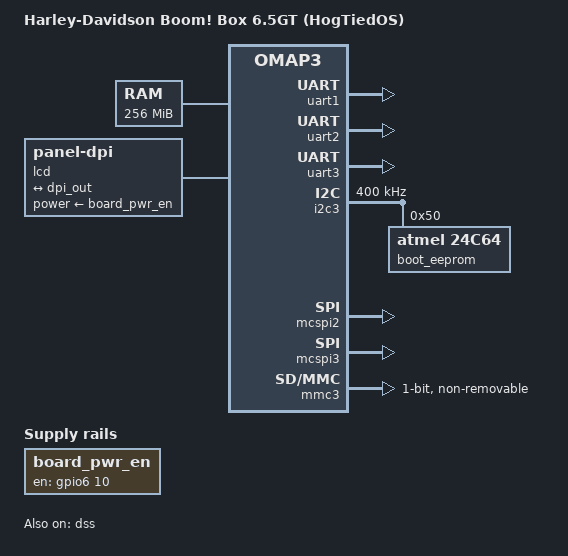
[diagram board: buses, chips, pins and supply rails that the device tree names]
// SPDX-License-Identifier: GPL-2.0-only
/*
 * HogTiedOS - Harley-Davidson Boom! Box 6.5GT head unit
 * SoC: TI DRA523/DRA526 ("Jacinto 3"), OMAP3-family, no public TRM.
 *
 * Provenance tags used below (see docs/findings/):
 *   [confirmed]  read from stock firmware AND matches mainline OMAP3 addresses
 *   [mainline]   not in our findings; value inherited from the mainline dtsi
 *   [inferred]   derived from findings, not stated directly by them
 *   TODO: unconfirmed  a real gap - do not "fix" by guessing
 *
 * Pin muxing: NO pad configuration data is available (the IPL pad table was
 * not extracted), so this file deliberately declares no pinctrl states and
 * relies on the pads the stock IPL left behind.
 * TODO: unconfirmed - extract IPL pad table before adding any pinctrl.
 */
/dts-v1/;

/*
 * TODO: unconfirmed - SoC base. am3517.dtsi is chosen because the IPL's
 * memory-controller sequence matches AM35xx EMIF4 (CROSS_CHECKS.md sec. 1/3).
 * Kernel prints the CONTROL_IDCODE hawkeye at boot; AM35xx = 0xb868.
 * If it's something else, switch to omap34xx.dtsi / omap36xx.dtsi.
 */
#include "ti/omap/am3517.dtsi"
#include <dt-bindings/gpio/gpio.h>

/ {
	model = "Harley-Davidson Boom! Box 6.5GT (HogTiedOS)";
	/* "hogtied,boombox-6.5gt" gates the DRAM-controller kernel patch */
	compatible = "hogtied,boombox-6.5gt", "ti,am3517", "ti,omap3";

	chosen {
		/* [confirmed] UART3 0x49020000 IRQ 74, 115200 8N1 debug console */
		stdout-path = "serial2:115200n8";
		bootargs = "console=ttyS2,115200n8 earlycon";
	};

	/*
	 * DRAM. [confirmed] base 0x80000000 (the IPL copies itself there).
	 * [confirmed] size: stock QNX startup (0x80100A18) reads EMIF4
	 * SDRAM_CONFIG 0x6D000008 ROWSIZE[9:7] and registers 512 MiB if it is
	 * 5, else 256 MiB. The IPL writes 5 when CONTROL_STATUS[14:13] == 0, else
	 * 4 (CROSS_CHECKS.md sec. 9). Keep 256 MiB here: the boot shim reads
	 * (never writes) ROWSIZE and patches this size cell to 0x20000000 on
	 * 512 MiB units (tools/ifs-pack, tested on the stock IPL).
	 */
	memory@80000000 {
		device_type = "memory";
		reg = <0x80000000 0x10000000>;
	};

	/*
	 * [confirmed] GPIO170 (gpio6 bit 10) is a shared board power enable:
	 * devg-omap35xx drives it HIGH to bring the panel up, and the audio
	 * power-amp code releases it (SETDATAOUT) before amp init. Modeled as
	 * one regulator so display and audio share it instead of both claiming
	 * the pin.
	 * TODO: unconfirmed - README says it is asserted only after an
	 * ignition-on CAN message; whether Linux may raise it unconditionally
	 * at boot is not established. Rail voltage unknown (none declared).
	 * TODO: unconfirmed - CONFLICT: the board/clock/pin handoff calls it
	 * the DSP's active-low reset (IPL pad 0x480021C6 = 0x0004, output,
	 * mode 4). Both readings agree that HIGH = running, but if it's a DSP
	 * reset, display code shouldn't own it. Resolve before any audio work.
	 */
	board_pwr_en: regulator-board-pwr-en {
		compatible = "regulator-fixed";
		regulator-name = "board_pwr_en";
		gpio = <&gpio6 10 GPIO_ACTIVE_HIGH>;	/* GPIO170 */
		enable-active-high;
	};

	/*
	 * [confirmed] 400x240 RGB565 panel. The stock image is the PREMIUM
	 * build: boot IFS display.conf -> premium/omap3530.conf, whose only
	 * active line is
	 *   hsw=28 hfp=40 hbp=60 vsw=3 vfp=13 vbp=29 ivs=1 ihs=1 ipc=1 ieo=0x4
	 *   pcd=0x8 ppl=400 lpp=240 lcdfmt=0x1 dither=2
	 * (The 400x234 entry cited in display_graphics_map.json is from
	 * standard/omap3530.conf, which this image doesn't use.)
	 * Totals 528 x 285.
	 *
	 * TODO: unconfirmed - pixel clock. display.conf declares refresh=60,
	 * giving 60 * 528 * 285 = 9.029 MHz (used below). pcd=8 disagrees
	 * unless the DSS functional clock is ~72 MHz: at 96 MHz it would give
	 * 12 MHz / ~80 Hz. The DSS clock source hasn't been traced.
	 * TODO: unconfirmed - whether hsw/hfp/... are real counts or DISPC
	 * register encodings (value-1); taken as real counts.
	 * TODO: unconfirmed - ieo=0x4 (data-enable polarity), dither=2.
	 */
	lcd0: display {
		compatible = "panel-dpi";
		label = "lcd";
		power-supply = <&board_pwr_en>;

		panel-timing {
			clock-frequency = <9028800>;
			hactive = <400>;
			vactive = <240>;
			hfront-porch = <40>;
			hback-porch = <60>;
			hsync-len = <28>;
			vfront-porch = <13>;
			vback-porch = <29>;
			vsync-len = <3>;
			hsync-active = <0>;	/* ihs=1: active low */
			vsync-active = <0>;	/* ivs=1: active low */
			pixelclk-active = <0>;	/* ipc=1: sampled on rising edge */
		};

		port {
			lcd_in: endpoint {
				remote-endpoint = <&dpi_out>;
			};
		};
	};

	/*
	 * Backlight: [confirmed-ish, medium-high] no OMAP PWM is used; brightness
	 * is a devctl message to the front controller over IPC ch3. No DT node.
	 * TODO: unconfirmed - exact message bytes.
	 */
};

/* [confirmed] DSS 0x48050000, DISPC IRQ 25, DPI output, 16 data lines */
&dss {
	status = "okay";

	port {
		dpi_out: endpoint {
			remote-endpoint = <&lcd_in>;
			data-lines = <16>;
		};
	};
};

/* [confirmed] UART1 0x4806A000 IRQ 72 - SDARS/SiriusXM, 57600 baud.
 * Stock only opens it when GPIO94 (SDARSPresent, gpio3 bit 30) reads 1;
 * userspace must do the same check. */
&uart1 {
	status = "okay";
};

/* [confirmed] UART2 0x4806C000 IRQ 73 - u-blox GPS. 9600 -> PUBX,41 -> 57600.
 * GPS reset is GPIO112 (gpio4 bit 16).
 * TODO: unconfirmed - reset polarity; not declared here. */
&uart2 {
	status = "okay";
};

/* [confirmed] UART3 0x49020000 IRQ 74 - debug console */
&uart3 {
	status = "okay";
};

/*
 * [confirmed] I2C EEPROM at 7-bit 0x50 holding IPL boot state:
 * partitionValid @0x0000, bootmode @0x0008, ifsSizeInMB @0x000D,
 * currentIFS @0x0FD0, touchCal @0x1874.
 * [confirmed] bus: QNX /dev/i2c2 is `i2c-omap35xx -p0x48060000 -i61 -u2`
 * in the stock startup script, i.e. OMAP I2C3; libeeprom uses
 * i2c_port=2, i2c_address=0x50. QNX also runs I2C2 (0x48072000, IRQ 57).
 * [inferred] >= 8 KiB (touchCal ends at 0x1890). Declared as 24c64:
 * larger 2-byte-address parts read identically within the first 8 KiB.
 * TODO: unconfirmed - exact part.
 * read-only: this EEPROM decides which IFS slot the IPL boots. Nothing in
 * Linux may write it without an explicit, reviewed change.
 */
&i2c3 {
	clock-frequency = <400000>;	/* [confirmed] -c400 */

	boot_eeprom: eeprom@50 {
		compatible = "atmel,24c64";
		reg = <0x50>;
		read-only;
	};

	/* TODO: unconfirmed - audio power amp "device id 0x6f" on the same
	 * QNX bus; unclear if 0x6f is a 7-bit address. Not declared. */
};

/*
 * Audio DSP (ADI Sigma200-family) on McSPI2 CS0, 6 MHz, mode 0, 8-bit words
 * [confirmed: /dev/spi0 args + CHCONF replay].
 * [mainline] McSPI2 base 0x4809a000 / IRQ 66 are not in our findings.
 * No driver yet; DSP reset/enable GPIOs (GPIO99/109-111/113 on gpio4,
 * GPIO170 shared) are not fully understood, so the device is disabled.
 * TODO: unconfirmed - DSP boot method, which pin truly resets the DSP.
 */
&mcspi2 {
	status = "okay";

	audio_dsp: dsp@0 {
		compatible = "hogtied,sigma200-dsp";	/* placeholder, no driver */
		reg = <0>;
		spi-max-frequency = <6000000>;
		status = "disabled";
	};
};

/*
 * Front controller / IOC (2x Renesas 78K0R) on McSPI3, 1 MHz, 2 CS
 * [confirmed: 0x480B8000 IRQ 91, dev-ipc -M3 -C0 -K1000000].
 * TODO: unconfirmed - IPC_REQ/IPC_ACK handshake lines "IRQ 136,137" are
 * QNX-remapped numbers (> 96 INTC lines), GPIO mapping unknown; SPI mode
 * word 0x608 not decoded; dev-ipc framing unknown. Devices disabled.
 */
&mcspi3 {
	status = "okay";

	front_ctrl: mcu@0 {
		compatible = "hogtied,dev-ipc";		/* placeholder, no driver */
		reg = <0>;
		spi-max-frequency = <1000000>;
		status = "disabled";
	};

	ioc: mcu@1 {
		compatible = "hogtied,dev-ipc";		/* placeholder, no driver */
		reg = <1>;
		spi-max-frequency = <1000000>;
		status = "disabled";
	};
};

/*
 * [confirmed] Marvell 88W8688 BT/WiFi over SDIO on MMC3 (0x480AD000 IRQ 94),
 * SDIO VID 0x02DF PID 0x3130 -> mainline libertas_sdio (sd8688 firmware).
 * TODO: unconfirmed - bus width, card power/reset GPIO, supply. Until those
 * are known the card may never enumerate.
 */
&mmc3 {
	status = "okay";
	non-removable;
	cap-power-off-card;
	bus-width = <1>;	/* TODO: unconfirmed - 1-bit until real width known */
};

/* [confirmed] MMC2 0x480B4000 IRQ 86 is a disabled "secondary BT chip" slot
 * in stock firmware (commented out in bluetooth.sh). Keep off. */
&mmc2 {
	status = "disabled";
};

/*
 * Boot NAND on GPMC 0x6E000000 [confirmed]: 2048+64 B pages, 64 pages/block
 * (128 KiB), 2048 blocks = 256 MiB, 4-bit BCH ECC (IPL ECC_SIZE_CONFIG
 * 0x3fcff000).
 *
 * DISABLED and every partition read-only. Per PROJECT_DECISIONS.md, NAND is
 * only ever written by stock update_nand_teb, never from Linux, and the IPL
 * is never written at all.
 * TODO: unconfirmed - GPMC chip select (0 assumed), GPMC timings (IPL NAND
 * timing init was not traced), whether Linux's omap2 BCH4 OOB layout matches
 * the IPL's (plus the IPL's per-page sequence number at OOB +4).
 */
&gpmc {
	ranges = <0 0 0x30000000 0x1000000>;	/* TODO: unconfirmed - CS0 window */

	nand@0,0 {
		compatible = "ti,omap2-nand";
		reg = <0 0 4>;				/* TODO: unconfirmed - CS0 */
		interrupt-parent = <&gpmc>;
		interrupts = <0 IRQ_TYPE_NONE>,		/* fifoevent */
			     <1 IRQ_TYPE_NONE>;		/* termcount */
		nand-bus-width = <8>;			/* TODO: unconfirmed */
		ti,nand-ecc-opt = "bch4";		/* TODO: unconfirmed layout */
		status = "disabled";

		partitions {
			compatible = "fixed-partitions";
			#address-cells = <1>;
			#size-cells = <1>;

			/* [confirmed] nand_partition.txt, block = 0x20000 */
			partition@0 {
				label = "IPL0";		/* block 0 */
				reg = <0x00000000 0x00020000>;
				read-only;
			};
			partition@20000 {
				label = "IPL1";		/* block 1 */
				reg = <0x00020000 0x00020000>;
				read-only;
			};
			partition@40000 {
				label = "IPL2";		/* block 2 */
				reg = <0x00040000 0x00020000>;
				read-only;
			};
			partition@60000 {
				label = "IPL3";		/* block 3 */
				reg = <0x00060000 0x00020000>;
				read-only;
			};
			partition@80000 {
				label = "IFS0";		/* blocks 4-339 */
				reg = <0x00080000 0x02a00000>;
				read-only;
			};
			partition@2a80000 {
				label = "IFS1";		/* blocks 340-675 */
				reg = <0x02a80000 0x02a00000>;
				read-only;
			};
			partition@5480000 {
				label = "IFS2";		/* blocks 676-1011 */
				reg = <0x05480000 0x02a00000>;
				read-only;
			};
			partition@7e80000 {
				/* TODO: unconfirmed - blocks 1012-1027 unaccounted
				 * for in nand_partition.txt; purpose unknown */
				label = "unknown-gap";
				reg = <0x07e80000 0x00200000>;
				read-only;
			};
			partition@8080000 {
				label = "ETFS";		/* blocks 1028-2047, /mnt/persistence */
				reg = <0x08080000 0x07f80000>;
				read-only;
			};
		};
	};
};

/*
 * Not declared (no confirmed data yet):
 *  - McBSP2 for Bluetooth SCO audio (BTClockSet register values not traced)
 *  - GPIO102 (gpio4 bit 6): falling-edge input used by the audio service,
 *    purpose unknown
 *  - GPIO169 (gpio6 bit 9): touched by display init, role unknown
 *  - SGX530: intentionally unused (software rendering)
 */
